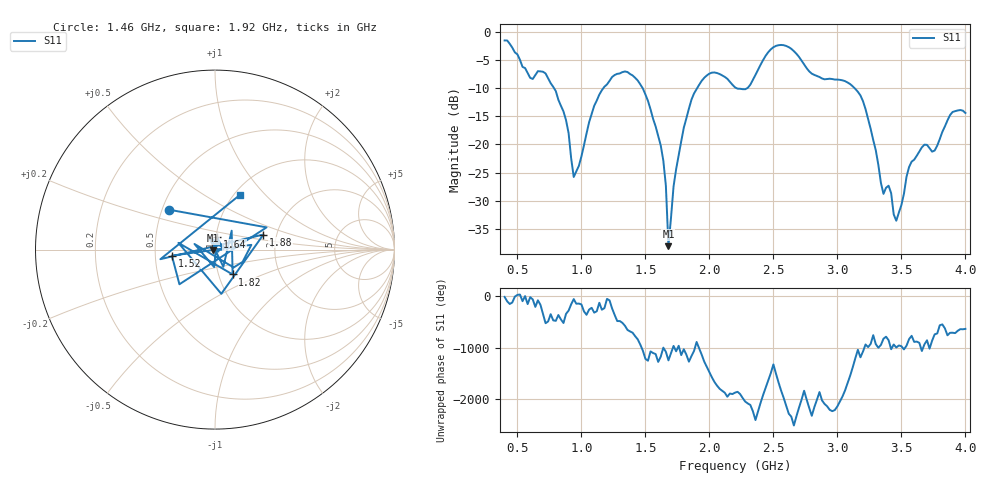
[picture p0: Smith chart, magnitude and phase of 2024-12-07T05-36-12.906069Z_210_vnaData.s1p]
!Created with skrf (http://scikit-rf.org).
# Hz S RI R 50.0
!freq ReS11 ImS11
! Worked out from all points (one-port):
!   181 points, 400 MHz to 4 GHz, reference 50 ohm
!   lowest |S11| = -38.1 dB at 1.68 GHz (marker M1), VSWR 1.03, Z = 48.8 - j0.31 ohm
!   |S11| at or under -10 dB: 785 MHz to 1.173 GHz (388 MHz wide, 39.6 % of centre); 1.477 GHz to 1.905 GHz (428 MHz wide, 25.3 % of centre); 3.132 GHz to end of sweep (the widest 3 of 4)
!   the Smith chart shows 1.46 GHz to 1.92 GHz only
!   S11 on the Smith chart (normalised r, x): 1.46 GHz: 0.54, +0.27; 1.52 GHz: 0.61, -0.04; 1.64 GHz: 1.01, +0.14; 1.82 GHz: 1.17, -0.33; 1.88 GHz: 1.70, +0.31; 1.92 GHz: 1.07, +0.74
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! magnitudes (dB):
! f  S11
! 400 MHz  -1.6
! 600 MHz  -8.2
! 720 MHz  -7.4
! 860 MHz  -14.2
! 940 MHz  -25.8
! 1.1 GHz  -13.2
! 1.3 GHz  -7.4
! 1.46 GHz  -9.4
! 1.52 GHz  -12.3
! 1.64 GHz  -22.9
! 1.66 GHz  -27.3
! 1.68 GHz  -38.1
! 1.72 GHz  -27.5
! 1.76 GHz  -21.9
! 1.82 GHz  -15.4
! 1.88 GHz  -11.0
! 1.92 GHz  -9.4
! 2.2 GHz  -9.9
! 2.3 GHz  -10.0
! 2.5 GHz  -2.8
! 2.66 GHz  -3.5
! 3.1 GHz  -9.3
! 3.2 GHz  -12.3
! 3.36 GHz  -28.8
! 3.4 GHz  -27.3
! 3.46 GHz  -33.5
! 3.56 GHz  -24.0
! 4 GHz  -14.4
